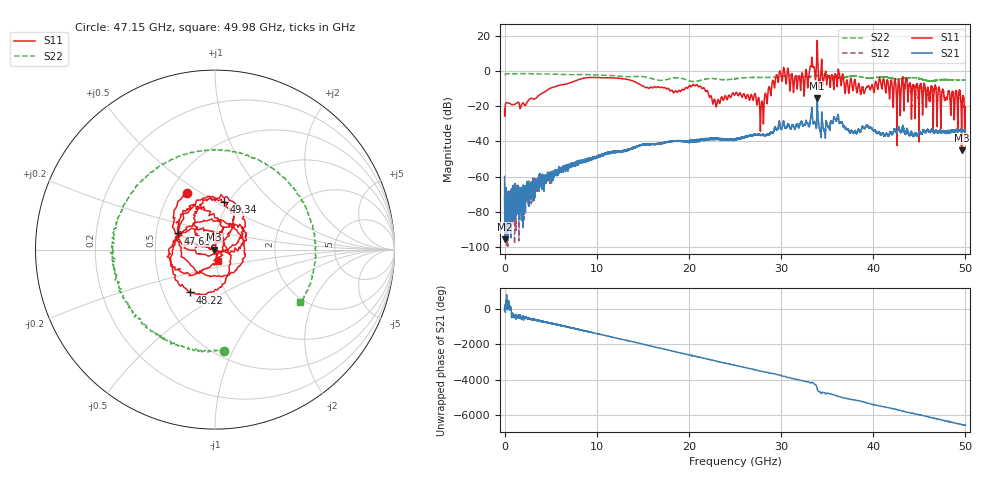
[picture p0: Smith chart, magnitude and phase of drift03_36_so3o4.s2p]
!Created with skrf (http://scikit-rf.org).
# Hz S RI R 50.0
!freq ReS11 ImS11 ReS21 ImS21 ReS12 ImS12 ReS22 ImS22
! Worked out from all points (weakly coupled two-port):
!   10001 points, 300 kHz to 50 GHz, reference 50 ohm
!   highest |S21| = -15.33 dB at 33.92 GHz (marker M1); lowest = -95.8 dB at 40.3 MHz (marker M2)
!   lowest |S11| = -44.9 dB at 49.58 GHz (marker M3), VSWR 1.01, Z = 49.4 - j0.0143 ohm
!   |S11| at or under -10 dB: start of sweep to 4.853 GHz; 21.69 GHz to 28.62 GHz (6.933 GHz wide, 27.6 % of centre); 47.2 GHz to end of sweep (the widest 3 of 43)
!   |S22| runs from -5.9 to -1.3 dB; largest |S21 - S12| = 0.017
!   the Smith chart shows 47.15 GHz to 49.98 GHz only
!   S11 on the Smith chart (normalised r, x): 47.15 GHz: 0.61, +0.44; 47.66 GHz: 0.65, +0.12; 48.22 GHz: 0.68, -0.35; 49.34 GHz: 0.95, +0.54; 49.98 GHz: 1.02, -0.13
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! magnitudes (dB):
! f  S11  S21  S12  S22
! 300 kHz  -21.5  -60.0  -71.5  -2.1
! 40.3 MHz  -21.4  -95.8  -77.9  -1.7
! 455.3 MHz  -18.2  -89.9  -85.7  -1.5
! 8.335 GHz  -4.3  -50.9  -51.0  -1.9
! 16.67 GHz  -8.8  -41.4  -41.3  -5.2
! 21.01 GHz  -8.7  -39.8  -39.2  -5.5
! 22.81 GHz  -16.2  -38.5  -38.6  -4.3
! 25 GHz  -13.4  -39.0  -38.9  -4.3
! 27.92 GHz  -17.1  -36.3  -36.4  -3.5
! 29.69 GHz  -6.5  -32.2  -31.4  -3.1
! 32.32 GHz  -1.5  -30.6  -30.7  -3.3
! 33.34 GHz  7.9  -20.5  -20.9  -2.9
! 33.92 GHz  17.5  -15.3  -15.7  -2.5
! 38.82 GHz  -8.9  -31.5  -31.8  -3.4
! 41.67 GHz  -9.0  -37.0  -36.8  -3.7
! 47.15 GHz  -9.1  -34.5  -34.4  -4.9
! 47.66 GHz  -12.9  -34.0  -34.3  -4.8
! 48.22 GHz  -11.2  -34.6  -34.4  -4.9
! 49.34 GHz  -11.4  -33.3  -34.0  -5.1
! 49.58 GHz  -44.9  -34.1  -34.3  -5.0
! 49.98 GHz  -23.9  -34.2  -34.4  -5.1
! 50 GHz  -20.4  -33.8  -34.0  -5.0
